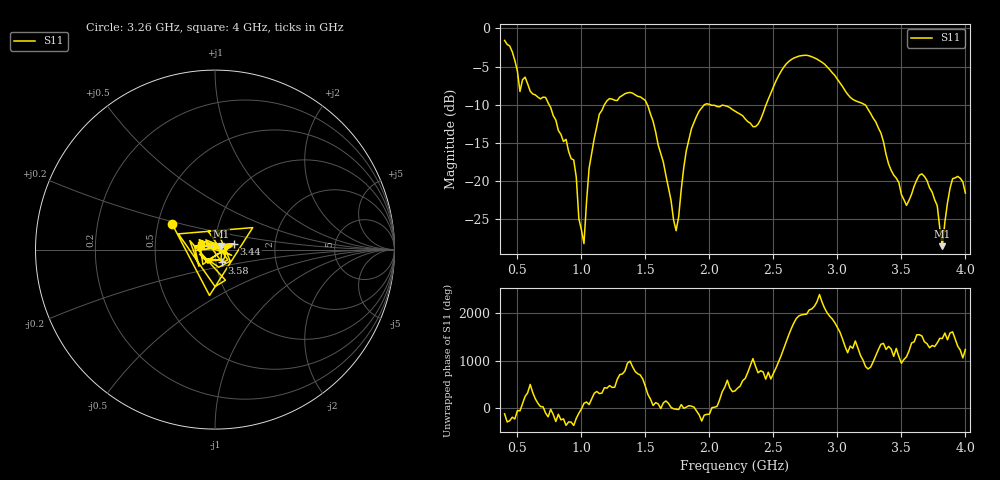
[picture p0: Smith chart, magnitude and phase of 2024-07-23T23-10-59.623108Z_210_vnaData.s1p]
!Created with skrf (http://scikit-rf.org).
# Hz S RI R 50.0
!freq ReS11 ImS11
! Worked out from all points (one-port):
!   181 points, 400 MHz to 4 GHz, reference 50 ohm
!   lowest |S11| = -28.6 dB at 3.82 GHz (marker M1), VSWR 1.08, Z = 53.2 + j2.11 ohm
!   |S11| at or under -10 dB: 1.515 GHz to 1.962 GHz (447.3 MHz wide, 25.7 % of centre); 2.005 GHz to 2.443 GHz (437.7 MHz wide, 19.7 % of centre); 3.213 GHz to end of sweep (the widest 3 of 4)
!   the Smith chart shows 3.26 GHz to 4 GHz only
!   S11 on the Smith chart (normalised r, x): 3.26 GHz: 0.60, +0.18; 3.44 GHz: 1.23, +0.07; 3.58 GHz: 1.07, -0.15; 4 GHz: 0.85, +0.05
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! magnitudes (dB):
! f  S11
! 400 MHz  -1.6
! 520 MHz  -8.3
! 720 MHz  -9.1
! 860 MHz  -14.9
! 940 MHz  -17.3
! 980 MHz  -25.0
! 1.02 GHz  -28.3
! 1.06 GHz  -18.4
! 1.14 GHz  -11.3
! 1.3 GHz  -9.0
! 1.5 GHz  -9.5
! 1.74 GHz  -26.6
! 1.76 GHz  -24.7
! 1.82 GHz  -16.0
! 1.92 GHz  -10.8
! 2.2 GHz  -10.9
! 2.36 GHz  -12.9
! 2.66 GHz  -3.9
! 3.1 GHz  -9.0
! 3.26 GHz  -11.2
! 3.44 GHz  -19.3
! 3.56 GHz  -22.6
! 3.58 GHz  -21.7
! 3.7 GHz  -20.0
! 3.78 GHz  -23.3
! 3.82 GHz  -28.6
! 3.9 GHz  -19.7
! 4 GHz  -21.6
